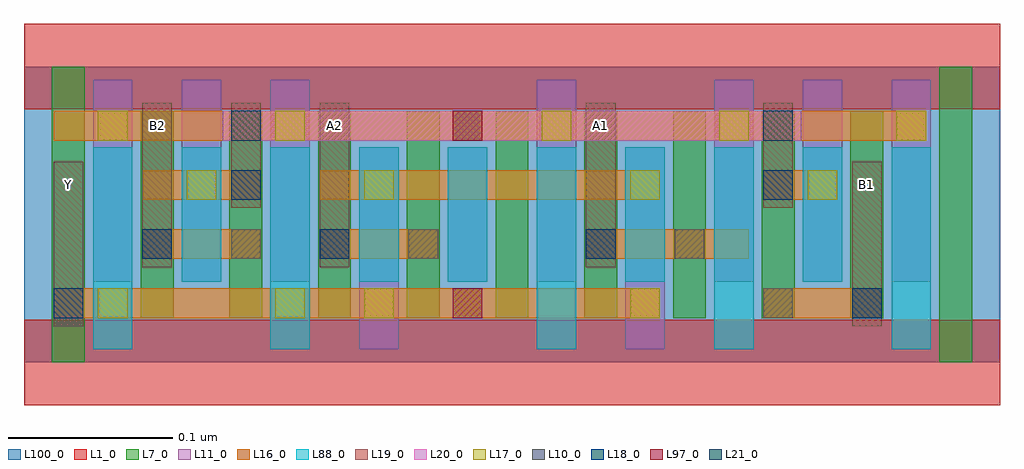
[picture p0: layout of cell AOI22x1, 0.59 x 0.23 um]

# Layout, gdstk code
import gdstk
lib = gdstk.Library(unit=1e-6, precision=2.5e-10)
def R(c, l, rs):  # rectangles x0, y0, x1, y1
    for r in rs: c.add(gdstk.rectangle(r[:2], r[2:], *l))
def A(c, l, x, y, w, h, nx, ny, dx, dy):  # array of equal rectangles
    R(c, l, [(x+i*dx, y+j*dy, x+i*dx+w, y+j*dy+h) for i in range(nx) for j in range(ny)])
L1_0 = (1, 0)
L7_0 = (7, 0)
L10_0 = (10, 0)
L11_0 = (11, 0)
L16_0 = (16, 0)
L17_0 = (17, 0)
L18_0 = (18, 0)
L19_0 = (19, 0)
L20_0 = (20, 0)
L21_0 = (21, 0)
L88_0 = (88, 0)
L97_0 = (97, 0)
L100_0 = (100, 0)

aoi22x1 = lib.new_cell('AOI22x1')
R(aoi22x1, L1_0, [(0,-0.026,0.594,0.026), (0,0.154,0.594,0.206)])
A(aoi22x1, L7_0, 0.071, 0.027, 0.02, 0.126, 9, 1, 0.054, 0)
R(aoi22x1, L7_0, [(0.017,0,0.037,0.18), (0.557,0,0.577,0.18)])
A(aoi22x1, L10_0, 0.072, 0.063, 0.018, 0.018, 4, 1, 0.054, 0)
R(aoi22x1, L10_0, [(0.45,0.027,0.468,0.045), (0.504,0.027,0.522,0.045), (0.342,0.063,0.36,0.081), (0.396,0.063,0.414,0.081)])
A(aoi22x1, L11_0, 0.042, 0.049, 0.024, 0.123, 3, 1, 0.054, 0)
A(aoi22x1, L11_0, 0.42, 0.049, 0.024, 0.123, 3, 1, 0.054, 0)
R(aoi22x1, L11_0, [(0.204,0.008,0.228,0.131), (0.366,0.008,0.39,0.131), (0.258,0.049,0.282,0.131), (0.312,0.049,0.336,0.172)])
R(aoi22x1, L16_0, [(0.018,0.027,0.387,0.045), (0.45,0.027,0.522,0.045), (0.072,0.063,0.144,0.081), (0.18,0.063,0.252,0.081), (0.342,0.063,0.441,0.081), (0.072,0.099,0.144,0.117), (0.18,0.099,0.387,0.117), (0.45,0.099,0.495,0.117), (0.018,0.135,0.549,0.153)])
A(aoi22x1, L17_0, 0.153, 0.027, 0.018, 0.018, 3, 1, 0.054, 0)
A(aoi22x1, L17_0, 0.045, 0.135, 0.018, 0.018, 3, 1, 0.108, 0)
A(aoi22x1, L17_0, 0.315, 0.135, 0.018, 0.018, 3, 1, 0.108, 0)
R(aoi22x1, L17_0, [(0.045,0.027,0.063,0.045), (0.369,0.027,0.387,0.045), (0.099,0.099,0.117,0.117), (0.207,0.099,0.225,0.117), (0.369,0.099,0.387,0.117), (0.477,0.099,0.495,0.117)])
R(aoi22x1, L18_0, [(0.018,0.027,0.036,0.045), (0.504,0.027,0.522,0.045), (0.072,0.063,0.09,0.081), (0.18,0.063,0.198,0.081), (0.342,0.063,0.36,0.081), (0.126,0.099,0.144,0.117), (0.45,0.099,0.468,0.117)])
R(aoi22x1, L19_0, [(0.018,0.022,0.036,0.122), (0.504,0.022,0.522,0.122), (0.072,0.058,0.09,0.158), (0.18,0.058,0.198,0.158), (0.342,0.058,0.36,0.158), (0.126,0.094,0.144,0.158), (0.45,0.094,0.468,0.158)])
R(aoi22x1, L20_0, [(0.121,0.135,0.473,0.153)])
R(aoi22x1, L21_0, [(0.126,0.135,0.144,0.153), (0.45,0.135,0.468,0.153)])
A(aoi22x1, L88_0, 0.312, 0.008, 0.024, 0.123, 3, 1, 0.108, 0)
A(aoi22x1, L88_0, 0.258, 0.049, 0.024, 0.082, 3, 1, 0.108, 0)
R(aoi22x1, L88_0, [(0.042,0.008,0.066,0.131), (0.15,0.008,0.174,0.131), (0.096,0.049,0.12,0.131), (0.204,0.049,0.228,0.131)])
R(aoi22x1, L97_0, [(0.261,0.027,0.279,0.045), (0.261,0.135,0.279,0.153)])
R(aoi22x1, L100_0, [(0,0,0.594,0.18)])
aoi22x1.add(gdstk.Label('A1', (0.351,0.144), layer=19, texttype=251))
aoi22x1.add(gdstk.Label('A2', (0.189,0.144), layer=19, texttype=251))
aoi22x1.add(gdstk.Label('B1', (0.513,0.108), layer=19, texttype=251))
aoi22x1.add(gdstk.Label('B2', (0.081,0.144), layer=19, texttype=251))
aoi22x1.add(gdstk.Label('Y', (0.027,0.108), layer=19, texttype=251))

lib.write_gds('AOI22x1.gds')
